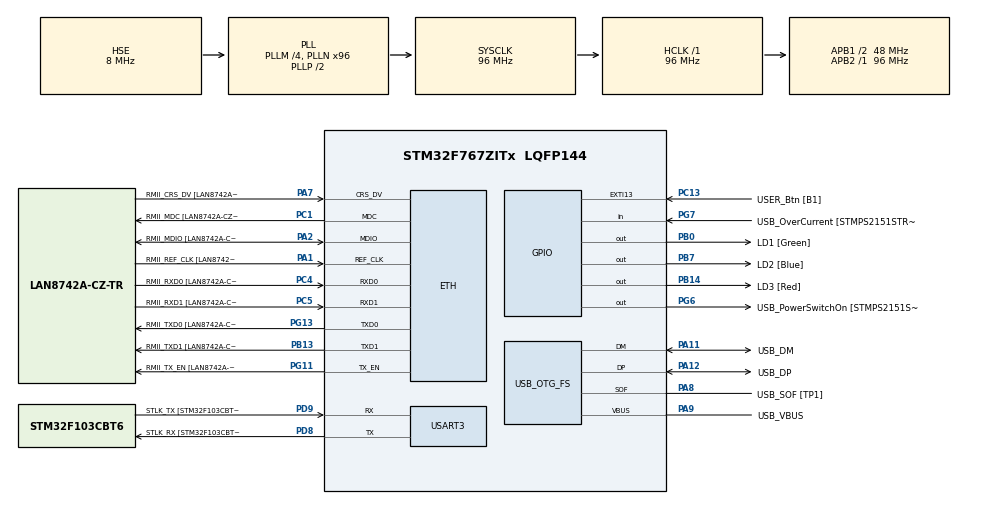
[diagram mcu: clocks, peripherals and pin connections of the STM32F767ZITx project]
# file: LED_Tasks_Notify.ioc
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ETH.MediaInterface=HAL_ETH_RMII_MODE
ETH.PHY_Name=LAN8742A_PHY_ADDRESS
ETH.PHY_Value=0
ETH.PhyAddress=0
Mcu.Family=STM32F7
Mcu.Name=STM32F767ZITx
Mcu.Package=LQFP144
NVIC.PriorityGroup=NVIC_PRIORITYGROUP_4
NVIC.TIM5_IRQn=true\:15\:0\:false\:false\:true\:false\:true\:true
NVIC.TimeBase=TIM5_IRQn
NVIC.TimeBaseIP=TIM5
PA1.GPIO_Label=RMII_REF_CLK [LAN8742A-CZ-TR_REFCLK0]
PA1.Mode=RMII
PA1.Signal=ETH_REF_CLK
PA10.GPIO_Label=USB_ID
PA10.Signal=USB_OTG_FS_ID
PA11.GPIO_Label=USB_DM
PA11.Mode=Device_Only
PA11.Signal=USB_OTG_FS_DM
PA12.GPIO_Label=USB_DP
PA12.Mode=Device_Only
PA12.Signal=USB_OTG_FS_DP
PA13.GPIO_Label=TMS
PA13.Mode=Serial_Wire
PA13.Signal=SYS_JTMS-SWDIO
PA14.GPIO_Label=TCK
PA14.Mode=Serial_Wire
PA14.Signal=SYS_JTCK-SWCLK
PA2.GPIO_Label=RMII_MDIO [LAN8742A-CZ-TR_MDIO]
PA2.Mode=RMII
PA2.Signal=ETH_MDIO
PA7.GPIO_Label=RMII_CRS_DV [LAN8742A-CZ-TR_CRS_DV]
PA7.Mode=RMII
PA7.Signal=ETH_CRS_DV
PA8.GPIO_Label=USB_SOF [TP1]
PA8.Mode=Activate_SOF_FS
PA8.Signal=USB_OTG_FS_SOF
PA9.GPIO_Label=USB_VBUS
PA9.Mode=Activate_VBUS
PA9.Signal=USB_OTG_FS_VBUS
PB0.GPIO_Label=LD1 [Green]
PB0.Signal=GPIO_Output
PB13.GPIO_Label=RMII_TXD1 [LAN8742A-CZ-TR_TXD1]
PB13.Mode=RMII
PB13.Signal=ETH_TXD1
PB14.GPIO_Label=LD3 [Red]
PB14.Signal=GPIO_Output
PB3.GPIO_Label=SWO
PB3.Signal=SYS_JTDO-SWO
PB7.GPIO_Label=LD2 [Blue]
PB7.Signal=GPIO_Output
PC1.GPIO_Label=RMII_MDC [LAN8742A-CZ-TR_MDC]
PC1.Mode=RMII
PC1.Signal=ETH_MDC
PC13.GPIO_Label=USER_Btn [B1]
PC13.Signal=GPXTI13
PC14/OSC32_IN.Mode=LSE-External-Oscillator
PC14/OSC32_IN.Signal=RCC_OSC32_IN
PC15/OSC32_OUT.Mode=LSE-External-Oscillator
PC15/OSC32_OUT.Signal=RCC_OSC32_OUT
PC4.GPIO_Label=RMII_RXD0 [LAN8742A-CZ-TR_RXD0]
PC4.Mode=RMII
PC4.Signal=ETH_RXD0
PC5.GPIO_Label=RMII_RXD1 [LAN8742A-CZ-TR_RXD1]
PC5.Mode=RMII
PC5.Signal=ETH_RXD1
PD8.GPIO_Label=STLK_RX [STM32F103CBT6_PA3]
PD8.Mode=Asynchronous
PD8.Signal=USART3_TX
PD9.GPIO_Label=STLK_TX [STM32F103CBT6_PA2]
PD9.Mode=Asynchronous
PD9.Signal=USART3_RX
PG11.GPIO_Label=RMII_TX_EN [LAN8742A-CZ-TR_TXEN]
PG11.Mode=RMII
PG11.Signal=ETH_TX_EN
PG13.GPIO_Label=RMII_TXD0 [LAN8742A-CZ-TR_TXD0]
PG13.Mode=RMII
PG13.Signal=ETH_TXD0
PG6.GPIO_Label=USB_PowerSwitchOn [STMPS2151STR_EN]
PG6.Signal=GPIO_Output
PG7.GPIO_Label=USB_OverCurrent [STMPS2151STR_FAULT]
PG7.Signal=GPIO_Input
PH0/OSC_IN.GPIO_Label=MCO [STM32F103CBT6_PA8]
PH0/OSC_IN.Mode=HSE-External-Clock-Source
PH0/OSC_IN.Signal=RCC_OSC_IN
PH1/OSC_OUT.Mode=HSE-External-Clock-Source
PH1/OSC_OUT.Signal=RCC_OSC_OUT
ProjectManager.HeapSize=0x200
ProjectManager.StackSize=0x400
ProjectManager.TargetToolchain=STM32CubeIDE
RCC.48MHZClocksFreq_Value=24000000
RCC.AHBFreq_Value=96000000
RCC.APB1CLKDivider=RCC_HCLK_DIV2
RCC.APB1Freq_Value=48000000
RCC.APB1TimFreq_Value=96000000
RCC.APB2Freq_Value=96000000
RCC.APB2TimFreq_Value=96000000
RCC.CortexFreq_Value=96000000
RCC.HCLKFreq_Value=96000000
RCC.HSE_VALUE=8000000
RCC.HSI_VALUE=16000000
RCC.PLLM=4
RCC.PLLMUL=RCC_PLL_MUL9
RCC.PLLN=96
RCC.PLLQ=4
RCC.PRESCALERUSB=RCC_USBCLKSOURCE_PLL_DIV1_5
RCC.SYSCLKFreq_VALUE=96000000
RCC.SYSCLKSource=RCC_SYSCLKSOURCE_PLLCLK
RCC.SYSCLKSourceVirtual=RCC_SYSCLKSOURCE_PLLCLK
RCC.USBFreq_Value=48000000
RCC.VCOOutputFreq_Value=192000000
USART3.VirtualMode-Asynchronous=VM_ASYNC
USB_OTG_FS.VirtualMode=Device_Only
VP_SYS_VS_tim5.Mode=TIM5
board=NUCLEO-F767ZI

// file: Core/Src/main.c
/* USER CODE BEGIN Header */
/**
 ******************************************************************************
 * @file           : main.c
 * @brief          : Main program body
 ******************************************************************************
 * @attention
 *
 * Copyright (c) 2024 STMicroelectronics.
 * All rights reserved.
 *
 * This software is licensed under terms that can be found in the LICENSE file
 * in the root directory of this software component.
 * If no LICENSE file comes with this software, it is provided AS-IS.
 *
 ******************************************************************************
 */
/* USER CODE END Header */
#include "main.h"
#include "string.h"

/* USER CODE BEGIN Includes */
#include "FreeRTOS.h"
#include "task.h"
/* USER CODE END Includes */

#if defined ( __ICCARM__ ) /*!< IAR Compiler */
#pragma location=0x2007c000
ETH_DMADescTypeDef  DMARxDscrTab[ETH_RX_DESC_CNT]; /* Ethernet Rx DMA Descriptors */
#pragma location=0x2007c0a0
ETH_DMADescTypeDef  DMATxDscrTab[ETH_TX_DESC_CNT]; /* Ethernet Tx DMA Descriptors */

#elif defined ( __CC_ARM )  /* MDK ARM Compiler */

__attribute__((at(0x2007c000))) ETH_DMADescTypeDef  DMARxDscrTab[ETH_RX_DESC_CNT]; /* Ethernet Rx DMA Descriptors */
__attribute__((at(0x2007c0a0))) ETH_DMADescTypeDef  DMATxDscrTab[ETH_TX_DESC_CNT]; /* Ethernet Tx DMA Descriptors */

#elif defined ( __GNUC__ ) /* GNU Compiler */

ETH_DMADescTypeDef DMARxDscrTab[ETH_RX_DESC_CNT] __attribute__((section(".RxDecripSection"))); /* Ethernet Rx DMA Descriptors */
ETH_DMADescTypeDef DMATxDscrTab[ETH_TX_DESC_CNT] __attribute__((section(".TxDecripSection")));   /* Ethernet Tx DMA Descriptors */
#endif

ETH_TxPacketConfig TxConfig;

ETH_HandleTypeDef heth;

UART_HandleTypeDef huart3;

PCD_HandleTypeDef hpcd_USB_OTG_FS;

void SystemClock_Config(void);
static void MX_GPIO_Init(void);
static void MX_ETH_Init(void);
static void MX_USART3_UART_Init(void);
static void MX_USB_OTG_FS_PCD_Init(void);
/* USER CODE BEGIN PFP */
static void led_green_handler(void* parameters);
static void led_blue_handler(void* parameters);
static void led_red_handler(void* parameters);
static void button_handler(void* parameters);

TaskHandle_t LEDGreenTask;
TaskHandle_t LEDBlueTask;
TaskHandle_t LEDRedTask;
TaskHandle_t ButtonTask;

TaskHandle_t volatile NextTask = NULL ;
/* USER CODE END PFP */

int main(void)
{

	/* USER CODE BEGIN 1 */
	BaseType_t status;
	/* USER CODE END 1 */

	/* MCU Configuration--------------------------------------------------------*/

	/* Reset of all peripherals, Initializes the Flash interface and the Systick. */
	HAL_Init();

	/* Configure the system clock */
	SystemClock_Config();

	/* USER CODE BEGIN SysInit */
	CoreDebug->DEMCR |= CoreDebug_DEMCR_TRCENA_Msk;
	DWT->LAR = 0xC5ACCE55;
	DWT->CYCCNT = 0;
	DWT->CTRL |= DWT_CTRL_CYCCNTENA_Msk;

	SEGGER_SYSVIEW_Conf();
	SEGGER_SYSVIEW_Start();
	/* USER CODE END SysInit */

	/* Initialize all configured peripherals */
	MX_GPIO_Init();
	MX_ETH_Init();
	MX_USART3_UART_Init();
	MX_USB_OTG_FS_PCD_Init();

	/* USER CODE BEGIN 2 */
	status = xTaskCreate(led_green_handler, "LED_GREEN_TASK", 200, NULL, 3, &LEDGreenTask);
	configASSERT(status == pdPASS);

	NextTask = LEDGreenTask;

	status = xTaskCreate(led_blue_handler, "LED_BLUE_TASK", 200, NULL, 2, &LEDBlueTask);
	configASSERT(status == pdPASS);

	status = xTaskCreate(led_red_handler, "LED_RED_TASK", 200, NULL, 1, &LEDRedTask);
	configASSERT(status == pdPASS);

	status = xTaskCreate(button_handler, "BUTTON_TASK", 200, NULL, 4, &ButtonTask);
	configASSERT(status == pdPASS);

	vTaskStartScheduler();
	/* USER CODE END 2 */

	/* Infinite loop */
	while (1)
	{

	}
}

void SystemClock_Config(void)
{
	RCC_OscInitTypeDef RCC_OscInitStruct = {0};
	RCC_ClkInitTypeDef RCC_ClkInitStruct = {0};

	/** Configure LSE Drive Capability
	 */
	HAL_PWR_EnableBkUpAccess();

	/** Configure the main internal regulator output voltage
	 */
	__HAL_RCC_PWR_CLK_ENABLE();
	__HAL_PWR_VOLTAGESCALING_CONFIG(PWR_REGULATOR_VOLTAGE_SCALE3);

	/** Initializes the RCC Oscillators according to the specified parameters
	 * in the RCC_OscInitTypeDef structure.
	 */
	RCC_OscInitStruct.OscillatorType = RCC_OSCILLATORTYPE_HSE;
	RCC_OscInitStruct.HSEState = RCC_HSE_BYPASS;
	RCC_OscInitStruct.PLL.PLLState = RCC_PLL_ON;
	RCC_OscInitStruct.PLL.PLLSource = RCC_PLLSOURCE_HSE;
	RCC_OscInitStruct.PLL.PLLM = 4;
	RCC_OscInitStruct.PLL.PLLN = 96;
	RCC_OscInitStruct.PLL.PLLP = RCC_PLLP_DIV2;
	RCC_OscInitStruct.PLL.PLLQ = 4;
	RCC_OscInitStruct.PLL.PLLR = 2;
	if (HAL_RCC_OscConfig(&RCC_OscInitStruct) != HAL_OK)
	{
		Error_Handler();
	}

	/** Activate the Over-Drive mode
	 */
	if (HAL_PWREx_EnableOverDrive() != HAL_OK)
	{
		Error_Handler();
	}

	/** Initializes the CPU, AHB and APB buses clocks
	 */
	RCC_ClkInitStruct.ClockType = RCC_CLOCKTYPE_HCLK|RCC_CLOCKTYPE_SYSCLK
			|RCC_CLOCKTYPE_PCLK1|RCC_CLOCKTYPE_PCLK2;
	RCC_ClkInitStruct.SYSCLKSource = RCC_SYSCLKSOURCE_PLLCLK;
	RCC_ClkInitStruct.AHBCLKDivider = RCC_SYSCLK_DIV1;
	RCC_ClkInitStruct.APB1CLKDivider = RCC_HCLK_DIV2;
	RCC_ClkInitStruct.APB2CLKDivider = RCC_HCLK_DIV1;

	if (HAL_RCC_ClockConfig(&RCC_ClkInitStruct, FLASH_LATENCY_3) != HAL_OK)
	{
		Error_Handler();
	}
}

static void MX_ETH_Init(void)
{

	static uint8_t MACAddr[6];

	heth.Instance = ETH;
	MACAddr[0] = 0x00;
	MACAddr[1] = 0x80;
	MACAddr[2] = 0xE1;
	MACAddr[3] = 0x00;
	MACAddr[4] = 0x00;
	MACAddr[5] = 0x00;
	heth.Init.MACAddr = &MACAddr[0];
	heth.Init.MediaInterface = HAL_ETH_RMII_MODE;
	heth.Init.TxDesc = DMATxDscrTab;
	heth.Init.RxDesc = DMARxDscrTab;
	heth.Init.RxBuffLen = 1524;

	if (HAL_ETH_Init(&heth) != HAL_OK)
	{
		Error_Handler();
	}

	memset(&TxConfig, 0 , sizeof(ETH_TxPacketConfig));
	TxConfig.Attributes = ETH_TX_PACKETS_FEATURES_CSUM | ETH_TX_PACKETS_FEATURES_CRCPAD;
	TxConfig.ChecksumCtrl = ETH_CHECKSUM_IPHDR_PAYLOAD_INSERT_PHDR_CALC;
	TxConfig.CRCPadCtrl = ETH_CRC_PAD_INSERT;

}

static void MX_USART3_UART_Init(void)
{

	huart3.Instance = USART3;
	huart3.Init.BaudRate = 115200;
	huart3.Init.WordLength = UART_WORDLENGTH_8B;
	huart3.Init.StopBits = UART_STOPBITS_1;
	huart3.Init.Parity = UART_PARITY_NONE;
	huart3.Init.Mode = UART_MODE_TX_RX;
	huart3.Init.HwFlowCtl = UART_HWCONTROL_NONE;
	huart3.Init.OverSampling = UART_OVERSAMPLING_16;
	huart3.Init.OneBitSampling = UART_ONE_BIT_SAMPLE_DISABLE;
	huart3.AdvancedInit.AdvFeatureInit = UART_ADVFEATURE_NO_INIT;
	if (HAL_UART_Init(&huart3) != HAL_OK)
	{
		Error_Handler();
	}

}

static void MX_USB_OTG_FS_PCD_Init(void)
{

	hpcd_USB_OTG_FS.Instance = USB_OTG_FS;
	hpcd_USB_OTG_FS.Init.dev_endpoints = 6;
	hpcd_USB_OTG_FS.Init.speed = PCD_SPEED_FULL;
	hpcd_USB_OTG_FS.Init.dma_enable = DISABLE;
	hpcd_USB_OTG_FS.Init.phy_itface = PCD_PHY_EMBEDDED;
	hpcd_USB_OTG_FS.Init.Sof_enable = ENABLE;
	hpcd_USB_OTG_FS.Init.low_power_enable = DISABLE;
	hpcd_USB_OTG_FS.Init.lpm_enable = DISABLE;
	hpcd_USB_OTG_FS.Init.vbus_sensing_enable = ENABLE;
	hpcd_USB_OTG_FS.Init.use_dedicated_ep1 = DISABLE;
	if (HAL_PCD_Init(&hpcd_USB_OTG_FS) != HAL_OK)
	{
		Error_Handler();
	}

}

static void MX_GPIO_Init(void)
{
	GPIO_InitTypeDef GPIO_InitStruct = {0};

	/* GPIO Ports Clock Enable */
	__HAL_RCC_GPIOC_CLK_ENABLE();
	__HAL_RCC_GPIOH_CLK_ENABLE();
	__HAL_RCC_GPIOA_CLK_ENABLE();
	__HAL_RCC_GPIOB_CLK_ENABLE();
	__HAL_RCC_GPIOD_CLK_ENABLE();
	__HAL_RCC_GPIOG_CLK_ENABLE();

	/*Configure GPIO pin Output Level */
	HAL_GPIO_WritePin(GPIOB, LD1_Pin|LD3_Pin|LD2_Pin, GPIO_PIN_RESET);

	/*Configure GPIO pin Output Level */
	HAL_GPIO_WritePin(USB_PowerSwitchOn_GPIO_Port, USB_PowerSwitchOn_Pin, GPIO_PIN_RESET);

	/*Configure GPIO pin : USER_Btn_Pin */
	GPIO_InitStruct.Pin = USER_Btn_Pin;
	GPIO_InitStruct.Mode = GPIO_MODE_IT_RISING;
	GPIO_InitStruct.Pull = GPIO_NOPULL;
	HAL_GPIO_Init(USER_Btn_GPIO_Port, &GPIO_InitStruct);

	/*Configure GPIO pins : LD1_Pin LD3_Pin LD2_Pin */
	GPIO_InitStruct.Pin = LD1_Pin|LD3_Pin|LD2_Pin;
	GPIO_InitStruct.Mode = GPIO_MODE_OUTPUT_PP;
	GPIO_InitStruct.Pull = GPIO_NOPULL;
	GPIO_InitStruct.Speed = GPIO_SPEED_FREQ_LOW;
	HAL_GPIO_Init(GPIOB, &GPIO_InitStruct);

	/*Configure GPIO pin : USB_PowerSwitchOn_Pin */
	GPIO_InitStruct.Pin = USB_PowerSwitchOn_Pin;
	GPIO_InitStruct.Mode = GPIO_MODE_OUTPUT_PP;
	GPIO_InitStruct.Pull = GPIO_NOPULL;
	GPIO_InitStruct.Speed = GPIO_SPEED_FREQ_LOW;
	HAL_GPIO_Init(USB_PowerSwitchOn_GPIO_Port, &GPIO_InitStruct);

	/*Configure GPIO pin : USB_OverCurrent_Pin */
	GPIO_InitStruct.Pin = USB_OverCurrent_Pin;
	GPIO_InitStruct.Mode = GPIO_MODE_INPUT;
	GPIO_InitStruct.Pull = GPIO_NOPULL;
	HAL_GPIO_Init(USB_OverCurrent_GPIO_Port, &GPIO_InitStruct);

}

/* USER CODE BEGIN 4 */
static void led_green_handler(void* parameters)
{
	BaseType_t status;
	while(1)
	{
		SEGGER_SYSVIEW_PrintfTarget("Toggling green LED");
		HAL_GPIO_TogglePin(GPIOB, GPIO_PIN_0);
		status = xTaskNotifyWait(0, 0, NULL, pdMS_TO_TICKS(1000));
		if(status == pdTRUE)
		{
			NextTask = LEDBlueTask;

			HAL_GPIO_WritePin(GPIOB, GPIO_PIN_0, GPIO_PIN_SET);
			SEGGER_SYSVIEW_PrintfTarget("Delete Green LED Task");
			vTaskSuspend(NULL);
		}
	}
}

static void led_blue_handler(void* parameters)
{
	BaseType_t status;
	while(1)
	{
		SEGGER_SYSVIEW_PrintfTarget("Toggling blue LED");
		HAL_GPIO_TogglePin(GPIOB, GPIO_PIN_7);

		status = xTaskNotifyWait(0, 0, NULL, pdMS_TO_TICKS(800));
		if(status == pdTRUE)
		{
			NextTask = LEDRedTask;
			HAL_GPIO_WritePin(GPIOB, GPIO_PIN_7, GPIO_PIN_SET);
			SEGGER_SYSVIEW_PrintfTarget("Delete Blue LED Task");

			vTaskSuspend(NULL);
		}
	}
}

static void led_red_handler(void* parameters)
{
	BaseType_t status;
	while(1)
	{
		SEGGER_SYSVIEW_PrintfTarget("Toggling red LED");
		HAL_GPIO_TogglePin(GPIOB, GPIO_PIN_14);

		status = xTaskNotifyWait(0, 0, NULL, pdMS_TO_TICKS(400));
		if(status == pdTRUE)
		{
			NextTask = NULL;

			HAL_GPIO_WritePin(GPIOB, GPIO_PIN_14, GPIO_PIN_SET);
			SEGGER_SYSVIEW_PrintfTarget("Delete Red LED Task");
			vTaskSuspend(NULL);
		}
	}
}

static void button_handler(void* parameters)
{
	// PC13
	uint8_t button_read = 0;
	uint8_t prev_read = 0;

	while(1)
	{
		button_read = HAL_GPIO_ReadPin(GPIOC, GPIO_PIN_13);

		if(!button_read)
		{
			if(prev_read)
			{
				if(NextTask == NULL)
				{
					vTaskResume(LEDRedTask);
					vTaskResume(LEDBlueTask);
					vTaskResume(LEDGreenTask);
					NextTask = LEDGreenTask;
				}
				else
				{
					xTaskNotify(NextTask, 0, eNoAction);
				}
			}

		}
		prev_read = button_read;
		vTaskDelay(pdMS_TO_TICKS(10));
	}
}
/* USER CODE END 4 */

void HAL_TIM_PeriodElapsedCallback(TIM_HandleTypeDef *htim)
{
	if (htim->Instance == TIM5) {
		HAL_IncTick();
	}
}

void Error_Handler(void)
{
	__disable_irq();
	while (1)
	{
	}
}
